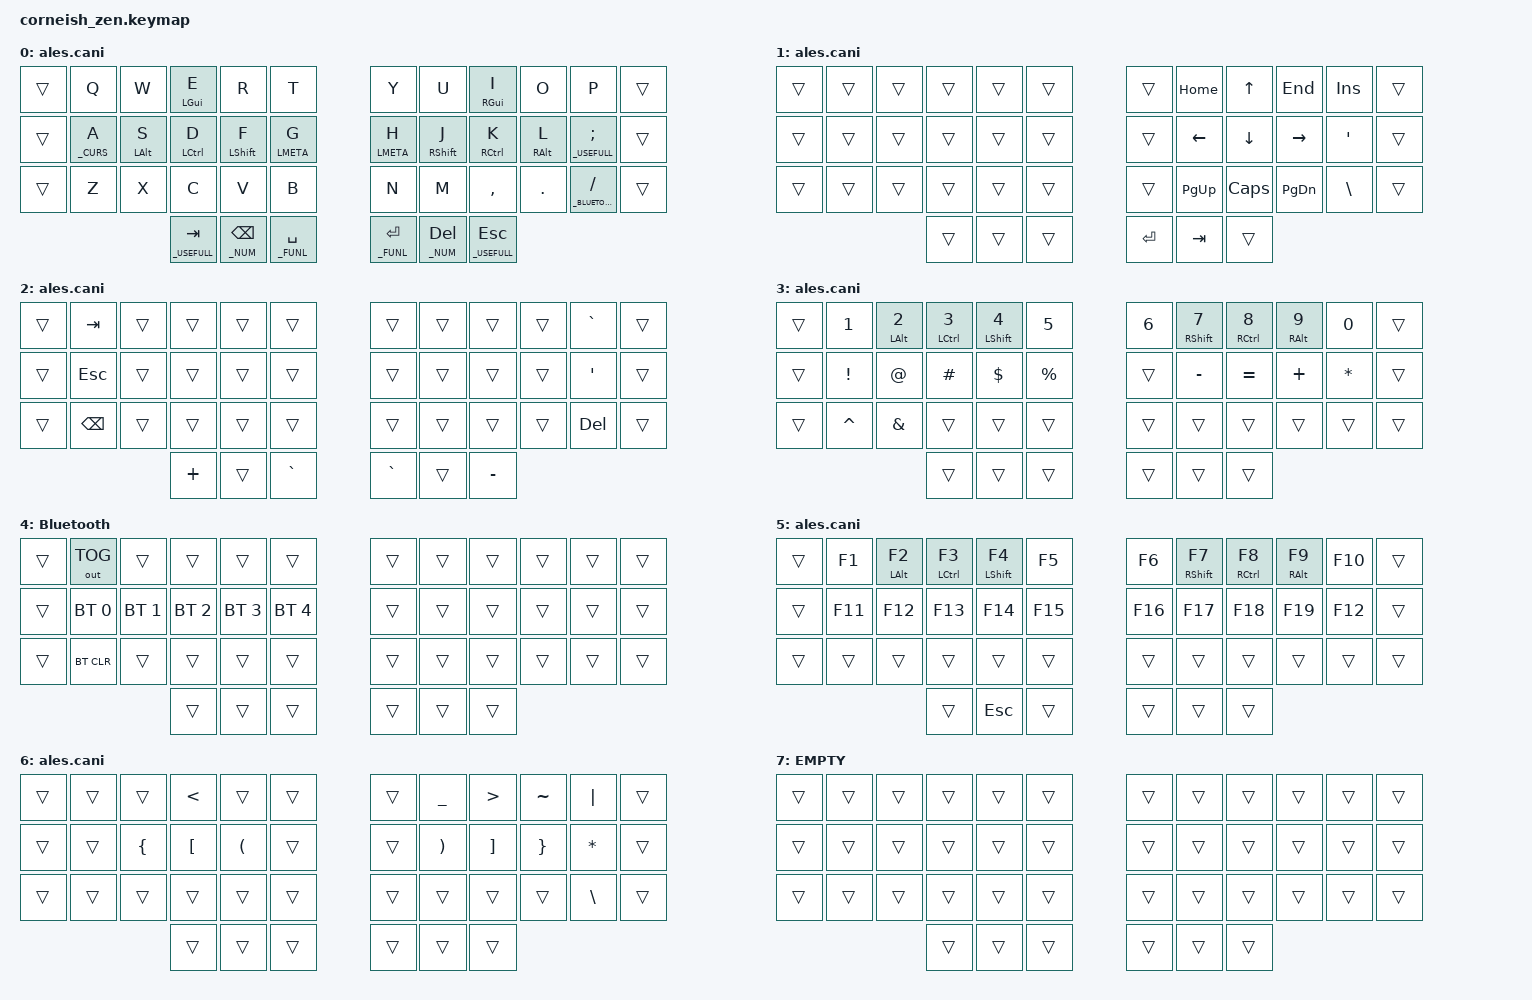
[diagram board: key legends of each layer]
/*
*
* Copyright (c) 2021 Darryl deHaan
* SPDX-License-Identifier: MIT
*
*/

#include <behaviors.dtsi>
#include <dt-bindings/zmk/keys.h>
#include <dt-bindings/zmk/bt.h>
#include <dt-bindings/zmk/outputs.h>

/ {
  chosen {
    zmk,matrix_transform = &default_transform;
    //zmk,matrix_transform = &five_USEFULLlumn_transform;
  };
};

#define _BASE       0  // base keyboard
#define _CURS       1  // cursors
#define _USEFULL         2  // a layer complementar to _CURS
#define _NUM        3  // numbers and operations
#define _BLUETOOTH  4  // layer to manage blue tooth connection
#define _FUNL       5  // Function keys
#define _SYMB       6  // Parenthesis



// Left hand
#define MY_S       &mt LALT S
#define MY_2       &mt LALT N2
#define MY_F2      &mt LALT F2


#define MY_D       &mt LCTRL D
#define MY_3       &mt LCTRL N3
#define MY_F3       &mt LCTRL F3

#define MY_F       &mt LSHIFT F
#define MY_4       &mt LSHIFT N4
#define MY_F4       &mt LSHIFT F4


#define MY_E       &mt LGUI E

// Right hand
#define MY_J       &mt RSHIFT J
#define MY_7       &mt RSHIFT N7
#define MY_F7      &mt RSHIFT F7

#define MY_K       &mt RCTRL K
#define MY_8       &mt RCTRL N8
#define MY_F8       &mt RCTRL F8

#define MY_L       &mt RALT L
#define MY_9       &mt RALT N9
#define MY_F9       &mt RALT F9

#define MY_I       &mt RGUI I

#define MY_A       &lt _CURS A
#define MY_SEMI    &lt _USEFULL SEMI
#define MY_SPC     &lt _NUM SPC
#define MY_SPACE   &lt _FUNL SPACE
#define MY_RET     &lt _FUNL RET


#define MY_DEL  &lt _NUM DEL
#define MY_BSPC  &lt _NUM BSPC
#define MY_TAB  &lt _USEFULL TAB
#define MY_ESC  &lt _USEFULL ESC

#define MY_G  &mt LMETA G
#define MY_H  &mt LMETA H

#define MY_FSLH &lt _BLUETOOTH FSLH


&mt {
    flavor = "tap-preferred";
    tapping-term-ms = <150>;
    quick-tap-ms = <120>;
    global-quick-tap;
};

/ {
        keymap {
                compatible = "zmk,keymap";

                // _BASE 0
                default_layer {
                        label = "ales.cani";
// ------------------------------------------------------`   '-------------------------------------------------------
// |      |  Q       |  W     |  E/GUI  |  R       |  T  |   |  Y  |  U        |  I/GUI   |  O      |  P    |      |
// |      |  A/CURS  |  S/ALT |  D/CTRL |  F/SHIFT |MET/G|   |MET/H|  J/SHIFT  |  K/CTRL  |  L/ALT  |  ;/CO |      |
// |      |  Z       |  X     |  C      |  V       |  B  |   |  N  |  M        |          |  .      |  BT//    |      |
//                   | TAB/BT      | BSPC/SYMB | SPACE |       | ENT | DEL/FUNL  | ESC |

                        bindings = <
   &trans  &kp Q  &kp W  MY_E         &kp R  &kp T      &kp Y  &kp U    MY_I            &kp O    &kp P      &trans
   &trans  MY_A   MY_S   MY_D         MY_F   MY_G       MY_H  MY_J     MY_K            MY_L     MY_SEMI    &trans
   &trans  &kp Z  &kp X  &kp C        &kp V  &kp B      &kp N  &kp M    &kp COMMA       &kp DOT  MY_FSLH   &trans
                      MY_TAB        MY_BSPC    MY_SPACE  MY_RET   MY_DEL  MY_ESC
                        >;
                };

                // _CURS 1
                cursors_layer {
                        label = "ales.cani";
// ------------------------------------------------------------------------------------------
// |      |     |     |     |     |     |   |     | Home |   ^  | End | Ins |      |
// |      |     |     |     |     |     |   |     | <--  | Down | --> |  '  |      |
// |      |     |     |     |     |     |   |     | PgUp | CAPS | PgDn|  \  |      |
//                  |     |     |     |       |      | Tab   |      |
                        bindings = <
   &trans     &trans       &trans       &trans       &trans       &trans         &trans  &kp HOME   &kp UP    &kp END    &kp INS             &trans
   &trans     &trans       &trans       &trans       &trans       &trans         &trans  &kp LEFT   &kp DOWN  &kp RIGHT  &kp SINGLE_QUOTE    &trans
   &trans     &trans       &trans       &trans       &trans       &trans         &trans  &kp PG_UP  &kp CAPS  &kp PG_DN  &kp BACKSLASH       &trans
                          	         &trans  &trans  &trans       &kp RET  &kp TAB   &trans
                        >;
                };



                // _USEFULL = 2
                co_layer {
                        label = "ales.cani";

// ------------------------------------------------------------------------------------------
// | TAB  |     |     |     |     |     |   |     |      |      |     |  `  |      |
// | ESC  |     |     |     |     |     |   |     |      |      |     |  '  |      |
// | BKSP |     |     |     |     |     |   |     |      |      |     | DEL |      |
//                    |  +  |     |  `  |   |  `  |      |  -   |
                        bindings = <
   &trans     &kp TAB      &trans       &trans       &trans       &trans         &trans   &trans   &trans &trans    &kp GRAVE        &trans
   &trans     &kp ESC      &trans       &trans       &trans       &trans         &trans   &trans   &trans &trans    &kp SINGLE_QUOTE &trans
   &trans     &kp BKSP     &trans       &trans       &trans       &trans         &trans   &trans   &trans &trans    &kp DEL          &trans
                          	        &kp PLUS     &trans       &kp GRAVE      &kp GRAVE  &trans   &kp MINUS
                        >;
                };


                // _NUM = 3
                numbers_layer {
                        label = "ales.cani";

// ------------------------------------------------------------------------------------------
// |      |  1  |  2  |  3  |  4  |  5  |   |  6  |  7   |  8   |  9  |  0  |      |
// |      |  !  |  @  |  #  |  $  |  %  |   |     |  -   |  =   |  +  |  *  |      |
// |      |  ^  |  &  |     |     |     |   |     |      |      |     |     |      |
//                    |     |     |     |   |     |      |      |
                        bindings = <
   &trans     &kp N1       MY_2         MY_3         MY_4         &kp N5         &kp N6   MY_7        MY_8        MY_9    &kp N0     &trans
   &trans     &kp EXCL     &kp AT       &kp HASH     &kp DLLR     &kp PERCENT    &trans   &kp MINUS   &kp EQUAL   &kp PLUS  &kp STAR   &trans
   &trans     &kp CARET    &kp AMPS     &trans       &trans       &trans         &trans   &trans      &trans      &trans    &trans     &trans
                          	            &trans     &trans        &trans             &trans    &trans     &trans
                        >;
                };


                // _BLUETOOTH = 4
                bluetooth_layer {
                        label = "Bluetooth";

// ------------------------------------------------------------------------------------------
// |      | TGL |     |     |     |     |   |     |      |      |     |     |      |
// |      | BT0 | BT1 | BT2 | BT3 | BT4 |   |     |      |      |     |     |      |
// |      | CLR |     |     |     |     |   |     |      |      |     |     |      |
//                    |     |     |     |   |     |      |      |
                        bindings = <
   &trans     &out OUT_TOG   &trans        &trans        &trans        &trans         &trans   &trans   &trans &trans    &trans &trans
   &trans     &bt  BT_SEL 0  &bt BT_SEL 1  &bt BT_SEL 2  &bt BT_SEL 3  &bt BT_SEL 4   &trans   &trans   &trans &trans    &trans &trans
   &trans     &bt  BT_CLR    &trans        &trans        &trans        &trans         &trans   &trans   &trans &trans    &trans &trans
                          	    &trans     &trans       &trans      &trans  &trans   &trans
                        >;
                };


                // _FUNCTION = 5
                function_layer {
                        label = "ales.cani";

// ------------------------------------------------------------------------------------------
// |      |     |     |     |     |     |   |     |      |      |     |     |      |
// |      | F1  | F2  | F3  | F4  | F5  |   | F6  | F7   |  F8  | F9  | F0  |      |
// |      | F11 | F12 | F14 | F15 | F16 |   | F17 | F18  |  F19 | F20 | F20 |      |
//                    |     | Esc |     |   |     |      |      |
                        bindings = <
   &trans     &kp F1       MY_F2        MY_F3        MY_F4        &kp F5         &kp F6   MY_F7    MY_F8    MY_F9    &kp F10  &trans
   &trans     &kp F11      &kp F12      &kp F13      &kp F14      &kp F15        &kp F16  &kp F17  &kp F18  &kp F19  &kp F12  &trans
   &trans     &trans       &trans       &trans       &trans       &trans         &trans   &trans   &trans   &trans   &trans   &trans
                          	                  &trans    &kp ESC     &trans      &trans  &trans   &trans
                        >;
                };




                // _SYMB = 6
                symbols_layer {
                        label = "ales.cani";

// ------------------------------------------------------------------------------------------
// |      |     |     |  <  |     |     |   |     |  _   |  >   |  ~  |  |  |      |
// |      |     |  {  |  [  |  (  |     |   |     |  )   |  ]   |   } |  *  |      |
// |      |     |     |     |     |     |   |     |      |      |     |  \  |      |
//                    |     |     |     |   |     |      |      |
                        bindings = <
   &trans     &trans       &trans       &kp LT       &trans       &trans         &trans   &kp UNDER  &kp GT    &kp TILDE  &kp PIPE    &trans
   &trans     &trans       &kp LBRC     &kp LBKT     &kp LPAR     &trans         &trans   &kp RPAR   &kp RBKT  &kp RBRC   &kp STAR    &trans
   &trans     &trans       &trans       &trans       &trans       &trans         &trans   &trans     &trans    &trans     &kp BSLH    &trans
                          	        &trans     &trans       &trans      &trans  &trans   &trans
                        >;
                };


                // EMPTY = 7
                empty_layer {
                        label = "EMPTY";

// ------------------------------------------------------------------------------------------
// |      |     |     |     |     |     |   |     |      |      |     |     |      |
// |      |     |     |     |     |     |   |     |      |      |     |     |      |
// |      |     |     |     |     |     |   |     |      |      |     |     |      |
//                    |     |     |     |   |     |      |      |
                        bindings = <
   &trans     &trans       &trans       &trans       &trans       &trans         &trans   &trans   &trans &trans    &trans &trans
   &trans     &trans       &trans       &trans       &trans       &trans         &trans   &trans   &trans &trans    &trans &trans
   &trans     &trans       &trans       &trans       &trans       &trans         &trans   &trans   &trans &trans    &trans &trans
                          	        &trans     &trans       &trans      &trans  &trans   &trans
                        >;
                };
        };
};
